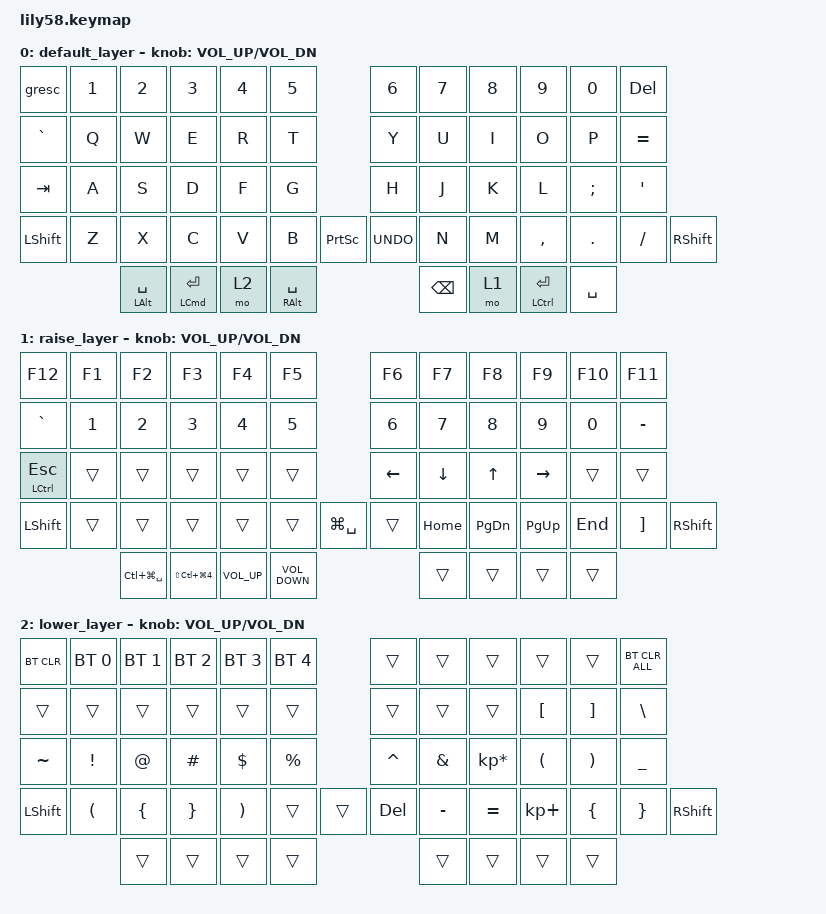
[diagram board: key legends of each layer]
/*
 * Copyright (c) 2020 The ZMK Contributors
 *
 * SPDX-License-Identifier: MIT
 */

#include <behaviors.dtsi>
#include <dt-bindings/zmk/bt.h>
#include <dt-bindings/zmk/keys.h>

/ {
    // Combo keys are a way to combine multiple keypresses to output a different key.

    combos {
        compatible = "zmk,combos";

        combo_clear_bluetooth {
            timeout-ms = <50>; // Press all the below keys within 50ms to activate mapping
            key-positions = <52 42 0>; // Press 52=LOWER, 42=GUI+V, 0=tilde
            bindings = <&bt BT_CLR>; // activate clear bluetooth bindings for current channel
        };

        // Ported from crkbd: home-row combos for Enter / one-shot Ctrl / one-shot Alt

        combo_enter {
            timeout-ms = <50>; // Press J+K+L together for Enter
            key-positions = <31 32 33>; // 31=J, 32=K, 33=L
            bindings = <&kp RET>;
        };

        combo_one_shot_ctrl {
            timeout-ms = <50>; // Press S+D+F together for one-shot Ctrl
            key-positions = <26 27 28>; // 26=S, 27=D, 28=F
            bindings = <&sk LCTRL>;
        };

        combo_one_shot_alt {
            timeout-ms = <50>; // Press W+E+R together for one-shot Alt
            key-positions = <14 15 16>; // 14=W, 15=E, 16=R
            bindings = <&sk LALT>;
        };
    };

    keymap {
        compatible = "zmk,keymap";

        default_layer {
            // ------------------------------------------------------------------------------------------------------------
            // |   `      |  1     |  2     |  3      |  4      |  5   |                   |  6   |   7     |   8     |  9     |   0     |   -   |
            // |  GESC    |  Q     |  W     |  E      |  R      |  T   |                   |  Y   |   U     |   I     |  O     |   P     |   =   |
            // |  TAB     | A/LALT | S/LGUI | D/LCTRL | F/LSHFT |  G   |                   |  H   | J/RSHFT | K/RCTRL | L/LGUI | ;/RALT  |   '   |
            // | SHIFT    |  Z     |  X     |  C      |  V      |  B   | GUI+V  |  | GUI+Z |  N   |   M     |   ,     |  .     |   /     | SHIFT |
            //                        | ALT  | GUI  | LOWER| SPACE/RALT |  | BSPC  | ENTER/LCTRL | RAISE | CTRL  |
            // Home-row mods, GESC/TAB and thumb mod-taps ported from crkbd; combo & mo(1)/mo(2) layer switching unchanged.

            bindings = <
&gresc     &kp N1  &kp N2          &kp N3                   &kp N4  &kp N5                           &kp N6      &kp N7    &kp N8  &kp N9                   &kp N0         &kp DELETE
&kp GRAVE  &kp Q   &kp W           &kp E                    &kp R   &kp T                            &kp Y       &kp U     &kp I   &kp O                    &kp P          &kp EQUAL
&kp TAB    &kp A   &kp S           &kp D                    &kp F   &kp G                            &kp H       &kp J     &kp K   &kp L                    &kp SEMICOLON  &kp SQT
&kp LSHFT  &kp Z   &kp X           &kp C                    &kp V   &kp B           &kp PRINTSCREEN  &kp K_UNDO  &kp N     &kp M   &kp COMMA                &kp DOT        &kp FSLH    &kp RSHFT
                   &mt LALT SPACE  &mt LEFT_COMMAND RETURN  &mo 2   &mt RALT SPACE                               &kp BSPC  &mo 1   &mt LEFT_CONTROL RETURN  &kp SPACE
            >;

            sensor-bindings = <&inc_dec_kp C_VOL_UP C_VOL_DN>;
        };

        raise_layer {
            // ------------------------------------------------------------------------------------------------------------
            // |  F12    |  F1 |  F2 |  F3  |  F4  |  F5  |                   |  F6  |   F7  |   F8  |  F9  |  F10  |  F11  |
            // |   `     |  1  |  2  |  3   |  4   |  5   |                   |  6   |   7   |   8   |  9   |   0   |   -   |
            // |CTRL/ESC |     |     |      |      |      |                   |  <-  |   ^   |   v   |  ->  |       |       |
            // | SHIFT   |     |     |      |      |      |        |  |       |  +   |   -   |   =   |  [   |   ]   |   \   |
            //                       |      |      |      |        |  |       |      |       |       |

            bindings = <
&kp F12        &kp F1  &kp F2             &kp F3                    &kp F4           &kp F5                            &kp F6    &kp F7    &kp F8         &kp F9       &kp F10  &kp F11
&kp GRAVE      &kp N1  &kp N2             &kp N3                    &kp N4           &kp N5                            &kp N6    &kp N7    &kp N8         &kp N9       &kp N0   &kp MINUS
&mt LCTRL ESC  &trans  &trans             &trans                    &trans           &trans                            &kp LEFT  &kp DOWN  &kp UP         &kp RIGHT    &trans   &trans
&kp LSHIFT     &trans  &trans             &trans                    &trans           &trans             &kp LG(SPACE)  &trans    &kp HOME  &kp PAGE_DOWN  &kp PAGE_UP  &kp END  &kp RBKT   &kp RIGHT_SHIFT
                       &kp LC(LG(SPACE))  &kp LS(LC(LG(NUMBER_4)))  &kp C_VOLUME_UP  &kp C_VOLUME_DOWN                           &trans    &trans         &trans       &trans
            >;

            sensor-bindings = <&inc_dec_kp C_VOL_UP C_VOL_DN>;
        };

        lower_layer {
            // ------------------------------------------------------------------------------------------------------------
            // |          | BT1     | BT2    |  BT3 |  BT4  |  BT5 |                    |      |       |       |      |       |       |
            // |          |         |        |      |       |      |                    |      |       |       |  [   |   ]   |   \   |
            // |   ~      |  !      |  @     |  #   |  $    |  %   |                    |  ^   |  &    |  *    |  (   |   )   |   _   |
            // | SHIFT    |  EP_ON  | EP_OFF |      |  (    |  {   |       |  |   DEL   |  }   |  )    |  +    |  {   |   }   | SHIFT |
            //                               |      |       |      |       |  |         |      |       |       |

            bindings = <
&bt BT_CLR  &bt BT_SEL 0          &bt BT_SEL 1    &bt BT_SEL 2     &bt BT_SEL 3           &bt BT_SEL 4          &trans     &trans     &trans           &trans       &trans    &bt BT_CLR_ALL
&trans      &trans                &trans          &trans           &trans                 &trans                &trans     &trans     &trans           &kp LBKT     &kp RBKT  &kp BSLH
&kp TILDE   &kp EXCL              &kp AT          &kp HASH         &kp DOLLAR             &kp PRCNT             &kp CARET  &kp AMPS   &kp KP_MULTIPLY  &kp LPAR     &kp RPAR  &kp UNDER
&kp LSHIFT  &kp LEFT_PARENTHESIS  &kp LEFT_BRACE  &kp RIGHT_BRACE  &kp RIGHT_PARENTHESIS  &trans        &trans  &kp DEL    &kp MINUS  &kp EQUAL        &kp KP_PLUS  &kp LBRC  &kp RBRC        &kp RSHIFT
                                  &trans          &trans           &trans                 &trans                           &trans     &trans           &trans       &trans
            >;

            sensor-bindings = <&inc_dec_kp C_VOL_UP C_VOL_DN>;
        };
    };
};
